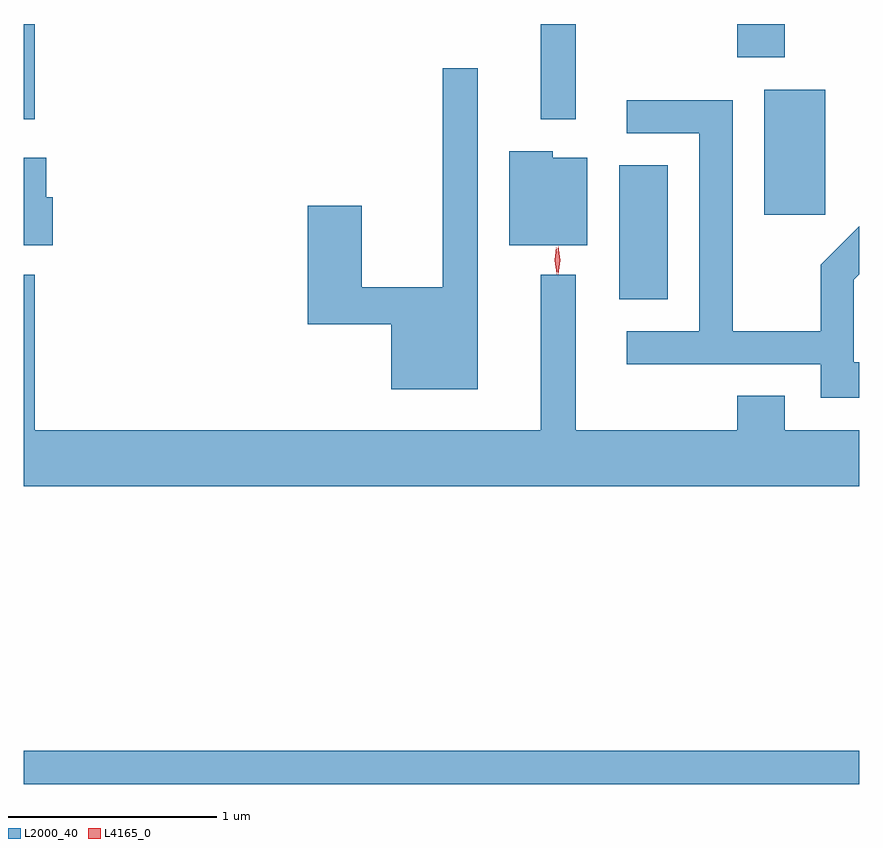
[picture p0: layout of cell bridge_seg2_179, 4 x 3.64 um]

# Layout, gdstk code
import gdstk
lib = gdstk.Library(unit=1e-6, precision=1e-09)
def R(c, l, rs):  # rectangles x0, y0, x1, y1
    for r in rs: c.add(gdstk.rectangle(r[:2], r[2:], *l))
def P(c, l, *ps):  # polygons
    for p in ps: c.add(gdstk.Polygon(p, *l))
L2000_40 = (2000, 40)
L4165_0 = (4165, 0)

bridge_seg2_179 = lib.new_cell('bridge_seg2_179')
R(bridge_seg2_179, L2000_40, [(739.306,993.611,743.306,993.769), (742.156,995.931,742.389,996.574), (742.851,996.336,743.144,996.934), (739.306,996.793,739.359,997.249), (741.781,996.793,741.949,997.249), (742.721,997.091,742.949,997.249)])
P(bridge_seg2_179, L2000_40, [(741.479,997.038),(741.311,997.038),(741.311,995.989),(740.924,995.989),(740.924,996.379),(740.666,996.379),(740.666,995.811),(741.066,995.811),(741.066,995.501),(741.479,995.501)],
  [(743.306,995.629),(743.279,995.629),(743.279,996.024),(743.306,996.051),(743.306,996.282),(743.121,996.097),(743.121,995.779),(742.699,995.779),(742.699,996.884),(742.193,996.884),(742.193,996.726),(742.541,996.726),(742.541,995.779),(742.193,995.779),(742.193,995.621),(743.121,995.621),(743.121,995.461),(743.306,995.461)],
  [(742.004,996.609),(741.839,996.609),(741.839,996.639),(741.631,996.639),(741.631,996.191),(742.004,996.191)],
  [(739.444,996.419),(739.414,996.419),(739.414,996.609),(739.306,996.609),(739.306,996.191),(739.444,996.191)],
  [(743.306,995.304),(742.949,995.304),(742.949,995.469),(742.721,995.469),(742.721,995.304),(741.949,995.304),(741.949,996.048),(741.781,996.048),(741.781,995.304),(739.359,995.304),(739.359,996.048),(739.306,996.048),(739.306,995.036),(743.306,995.036)])
P(bridge_seg2_179, L4165_0, [(741.865,996.049),(741.864,996.05),(741.855,996.118),(741.865,996.186),(741.866,996.186),(741.866,996.186),(741.875,996.118),(741.865,996.05)],
  [(741.858,996.052),(741.857,996.053),(741.847,996.117),(741.855,996.181),(741.855,996.181),(741.856,996.181),(741.866,996.117),(741.858,996.053)])

lib.write_gds('bridge_seg2_179.gds')
